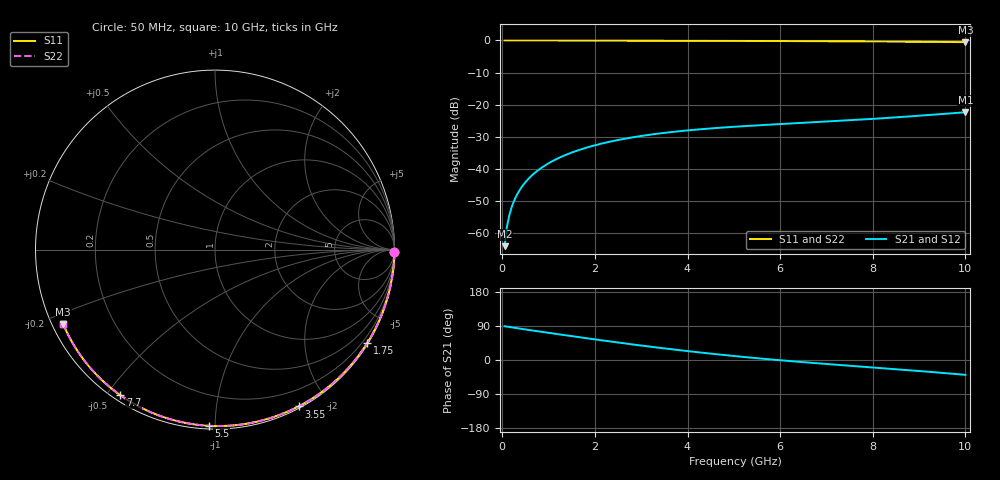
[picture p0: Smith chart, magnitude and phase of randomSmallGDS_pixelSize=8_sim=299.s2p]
! freq	dB(S11)	phase(S11)	dB(S12)	phase(S12)
!  dB(S21)	phase(S21)	dB(S22)	phase(S22)
!S-par simulation data
#  GHz  S  DB  R 50
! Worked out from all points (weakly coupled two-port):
!   200 points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, 50 MHz to 10 GHz, reference 50 ohm
!   highest |S21| = -22.34 dB at 10 GHz (marker M1); lowest = -64.0 dB at 50 MHz (marker M2)
!   lowest |S11| = -0.5 dB at 10 GHz (marker M3), VSWR 33.43, Z = 1.58 - j11.6 ohm
!   |S11| at or under -10 dB: nowhere
!   |S22| runs from -0.5 to 0.0 dB; largest |S21 - S12| = 0
!   S11 on the Smith chart (normalised r, x): 50 MHz: open; 1.75 GHz: 0.03, -3.55; 3.55 GHz: 0.02, -1.67; 5.5 GHz: 0.02, -0.96; 7.7 GHz: 0.02, -0.54; 10 GHz: 0.03, -0.23
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0.05  -0.00 -0.9  -64.00 89.0  -64.00 89.0  -0.00 -0.9
0.1  -0.00 -1.8  -57.98 88.1  -57.98 88.1  -0.00 -1.8
0.15  -0.00 -2.7  -54.47 87.1  -54.47 87.1  -0.00 -2.8
0.2  -0.00 -3.7  -51.98 86.2  -51.98 86.2  -0.00 -3.7
0.25  -0.00 -4.6  -50.05 85.2  -50.05 85.2  -0.00 -4.6
0.35  -0.00 -6.4  -47.14 83.3  -47.14 83.3  -0.00 -6.4
0.5  -0.01 -9.1  -44.08 80.6  -44.08 80.6  -0.01 -9.1
0.7  -0.01 -12.8  -41.21 77.0  -41.21 77.0  -0.01 -12.8
1  -0.02 -18.1  -38.20 71.7  -38.20 71.7  -0.02 -18.2
1.35  -0.03 -24.4  -35.72 65.5  -35.72 65.5  -0.03 -24.4
1.75  -0.04 -31.5  -33.64 58.6  -33.64 58.6  -0.04 -31.5
2.5  -0.06 -44.4  -30.96 46.1  -30.96 46.1  -0.06 -44.5
3.4  -0.08 -59.5  -28.93 32.1  -28.93 32.1  -0.08 -59.5
3.55  -0.09 -61.9  -28.67 29.9  -28.67 29.9  -0.09 -62.0
4.3  -0.11 -73.9  -27.60 19.4  -27.60 19.4  -0.11 -73.9
5.05  -0.14 -85.4  -26.81 9.9  -26.81 9.9  -0.14 -85.5
5.5  -0.16 -92.1  -26.42 4.7  -26.42 4.7  -0.16 -92.2
6.7  -0.22 -109.3  -25.49 -7.7  -25.49 -7.7  -0.22 -109.4
7.7  -0.29 -123.1  -24.67 -16.9  -24.67 -16.9  -0.29 -123.2
8.35  -0.34 -131.8  -24.07 -22.9  -24.07 -22.9  -0.34 -131.9
9.2  -0.43 -143.2  -23.21 -31.0  -23.21 -31.0  -0.43 -143.3
10  -0.52 -153.9  -22.34 -39.1  -22.34 -39.1  -0.52 -154.0
